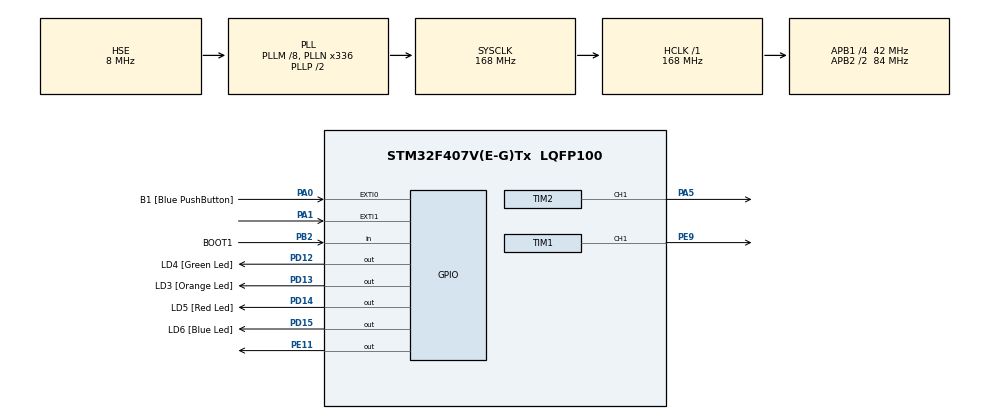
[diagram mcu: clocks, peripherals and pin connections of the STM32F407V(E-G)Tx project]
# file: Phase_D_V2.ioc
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Mcu.Family=STM32F4
Mcu.Name=STM32F407V(E-G)Tx
Mcu.Package=LQFP100
NVIC.EXTI1_IRQn=true\:0\:0\:false\:false\:true\:true\:true\:true
NVIC.PriorityGroup=NVIC_PRIORITYGROUP_0
NVIC.TIM1_CC_IRQn=true\:0\:0\:false\:false\:true\:true\:true\:true
PA0-WKUP.GPIO_Label=B1 [Blue PushButton]
PA0-WKUP.GPIO_ModeDefaultEXTI=GPIO_MODE_EVT_RISING
PA0-WKUP.GPIO_PuPd=GPIO_NOPULL
PA0-WKUP.Signal=GPXTI0
PA1.GPIO_ModeDefaultEXTI=GPIO_MODE_IT_RISING
PA1.Signal=GPXTI1
PA5.Signal=S_TIM2_CH1_ETR
PB2.GPIO_Label=BOOT1
PB2.GPIO_Mode=GPIO_MODE_INPUT
PB2.GPIO_PuPd=GPIO_NOPULL
PB2.Signal=GPIO_Input
PC14-OSC32_IN.GPIO_Label=PC14-OSC32_IN
PC14-OSC32_IN.Mode=LSE-External-Oscillator
PC14-OSC32_IN.Signal=RCC_OSC32_IN
PC15-OSC32_OUT.GPIO_Label=PC15-OSC32_OUT
PC15-OSC32_OUT.Mode=LSE-External-Oscillator
PC15-OSC32_OUT.Signal=RCC_OSC32_OUT
PD12.GPIO_Label=LD4 [Green Led]
PD12.GPIO_PuPd=GPIO_NOPULL
PD12.GPIO_Speed=GPIO_SPEED_FREQ_LOW
PD12.Signal=GPIO_Output
PD13.GPIO_Label=LD3 [Orange Led]
PD13.GPIO_PuPd=GPIO_NOPULL
PD13.GPIO_Speed=GPIO_SPEED_FREQ_LOW
PD13.Signal=GPIO_Output
PD14.GPIO_Label=LD5 [Red Led]
PD14.GPIO_PuPd=GPIO_NOPULL
PD14.GPIO_Speed=GPIO_SPEED_FREQ_LOW
PD14.Signal=GPIO_Output
PD15.GPIO_Label=LD6 [Blue Led]
PD15.GPIO_PuPd=GPIO_NOPULL
PD15.GPIO_Speed=GPIO_SPEED_FREQ_LOW
PD15.Signal=GPIO_Output
PE11.Signal=GPIO_Output
PE9.Signal=S_TIM1_CH1
PH0-OSC_IN.GPIO_Label=PH0-OSC_IN
PH0-OSC_IN.Mode=HSE-External-Oscillator
PH0-OSC_IN.Signal=RCC_OSC_IN
PH1-OSC_OUT.GPIO_Label=PH1-OSC_OUT
PH1-OSC_OUT.Mode=HSE-External-Oscillator
PH1-OSC_OUT.Signal=RCC_OSC_OUT
ProjectManager.HeapSize=0x200
ProjectManager.StackSize=0x400
ProjectManager.TargetToolchain=STM32CubeIDE
RCC.48MHZClocksFreq_Value=48000000
RCC.AHBFreq_Value=168000000
RCC.APB1CLKDivider=RCC_HCLK_DIV4
RCC.APB1Freq_Value=42000000
RCC.APB1TimFreq_Value=84000000
RCC.APB2CLKDivider=RCC_HCLK_DIV2
RCC.APB2Freq_Value=84000000
RCC.APB2TimFreq_Value=168000000
RCC.CortexFreq_Value=168000000
RCC.HCLKFreq_Value=168000000
RCC.HSE_VALUE=8000000
RCC.HSI_VALUE=16000000
RCC.PLLM=8
RCC.PLLN=336
RCC.PLLQ=7
RCC.PLLSourceVirtual=RCC_PLLSOURCE_HSE
RCC.SYSCLKFreq_VALUE=168000000
RCC.SYSCLKSource=RCC_SYSCLKSOURCE_PLLCLK
RCC.VCOOutputFreq_Value=336000000
SH.S_TIM1_CH1.0=TIM1_CH1,PWM Generation1 CH1
SH.S_TIM2_CH1_ETR.0=TIM2_CH1,PWM Generation1 CH1
TIM1.Channel-PWM\ Generation1\ CH1=TIM_CHANNEL_1
TIM1.Period=3300-1
TIM1.Prescaler=168-1
TIM1.Pulse-PWM\ Generation1\ CH1=1650
TIM2.Channel-PWM\ Generation1\ CH1=TIM_CHANNEL_1
TIM2.Period=400-1
TIM2.Prescaler=4200-1
VP_TIM1_VS_ClockSourceINT.Mode=Internal
VP_TIM2_VS_ClockSourceINT.Mode=Internal
board=STM32F407G-DISC1

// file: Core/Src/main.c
/* USER CODE BEGIN Header */
/**
  ******************************************************************************
  * @file           : main.c
  * @brief          : Main program body
  ******************************************************************************
  * @attention
  *
  * Copyright (c) 2023 STMicroelectronics.
  * All rights reserved.
  *
  * This software is licensed under terms that can be found in the LICENSE file
  * in the root directory of this software component.
  * If no LICENSE file comes with this software, it is provided AS-IS.
  *
  ******************************************************************************
  */
/* USER CODE END Header */
#include "main.h"

/* USER CODE BEGIN Includes */
#include "stm32f4xx_hal_tim.h"

/* USER CODE END Includes */

/* USER CODE BEGIN PM */
#define gPIR_PIN_PORT GPIOA
#define gPIR_PIN	GPIO_PIN_1  // Motion sensor pin
#define gLED_PIN_PORT GPIOE
#define gLED_PIN GPIO_PIN_11  // LED pin
#define gBUZZER_PIN_PORT GPIOE
#define gBUZZER_PIN GPIO_PIN_9 // Buzzer Pin
#define gBUZZER_TIM_CHANNEL TIM_CHANNEL_1
/* USER CODE END PM */

TIM_HandleTypeDef htim1;
TIM_HandleTypeDef htim2;

void SystemClock_Config(void);
static void MX_GPIO_Init(void);
static void MX_TIM1_Init(void);
static void MX_TIM2_Init(void);

/* USER CODE BEGIN 0 */
volatile char gISR_Flag_PIR = 0;
/* USER CODE END 0 */

int main(void)
{

  /* MCU Configuration--------------------------------------------------------*/

  /* Reset of all peripherals, Initializes the Flash interface and the Systick. */
  HAL_Init();

  /* Configure the system clock */
  SystemClock_Config();

  /* Initialize all configured peripherals */
  MX_GPIO_Init();
  MX_TIM1_Init();
  MX_TIM2_Init();
  MX_BUZZER_Init();

  /* Infinite loop */
  /* USER CODE BEGIN WHILE */
  while (1)
  {

	  if(gISR_Flag_PIR){
		  HAL_GPIO_WritePin(gLED_PIN_PORT, gLED_PIN, SET); // Turn on LED
		 // HAL_GPIO_WritePin(BUZZER_PIN_PORT, BUZZER_PIN, SET); // Turn on buzzer
		  HAL_TIM_PWM_Start(&htim1, gBUZZER_TIM_CHANNEL);
		  HAL_Delay(1000); // Delay for 1 second
		  //HAL_GPIO_WritePin(BUZZER_PIN_PORT, BUZZER_PIN, RESET); // Turn off buzzer
		  HAL_TIM_PWM_Stop(&htim1, gBUZZER_TIM_CHANNEL);
		  HAL_GPIO_WritePin(gLED_PIN_PORT, gLED_PIN, RESET); // Turn off LED
		  gISR_Flag_PIR = 0; // Reset the motion detection flag
	  }

    /* USER CODE END WHILE */

  }
}

void SystemClock_Config(void)
{
  RCC_OscInitTypeDef RCC_OscInitStruct = {0};
  RCC_ClkInitTypeDef RCC_ClkInitStruct = {0};

  /** Configure the main internal regulator output voltage
  */
  __HAL_RCC_PWR_CLK_ENABLE();
  __HAL_PWR_VOLTAGESCALING_CONFIG(PWR_REGULATOR_VOLTAGE_SCALE1);

  /** Initializes the RCC Oscillators according to the specified parameters
  * in the RCC_OscInitTypeDef structure.
  */
  RCC_OscInitStruct.OscillatorType = RCC_OSCILLATORTYPE_HSE;
  RCC_OscInitStruct.HSEState = RCC_HSE_ON;
  RCC_OscInitStruct.PLL.PLLState = RCC_PLL_ON;
  RCC_OscInitStruct.PLL.PLLSource = RCC_PLLSOURCE_HSE;
  RCC_OscInitStruct.PLL.PLLM = 8;
  RCC_OscInitStruct.PLL.PLLN = 336;
  RCC_OscInitStruct.PLL.PLLP = RCC_PLLP_DIV2;
  RCC_OscInitStruct.PLL.PLLQ = 7;
  if (HAL_RCC_OscConfig(&RCC_OscInitStruct) != HAL_OK)
  {
    Error_Handler();
  }

  /** Initializes the CPU, AHB and APB buses clocks
  */
  RCC_ClkInitStruct.ClockType = RCC_CLOCKTYPE_HCLK|RCC_CLOCKTYPE_SYSCLK
                              |RCC_CLOCKTYPE_PCLK1|RCC_CLOCKTYPE_PCLK2;
  RCC_ClkInitStruct.SYSCLKSource = RCC_SYSCLKSOURCE_PLLCLK;
  RCC_ClkInitStruct.AHBCLKDivider = RCC_SYSCLK_DIV1;
  RCC_ClkInitStruct.APB1CLKDivider = RCC_HCLK_DIV4;
  RCC_ClkInitStruct.APB2CLKDivider = RCC_HCLK_DIV2;

  if (HAL_RCC_ClockConfig(&RCC_ClkInitStruct, FLASH_LATENCY_5) != HAL_OK)
  {
    Error_Handler();
  }
}

static void MX_TIM1_Init(void)
{

  TIM_ClockConfigTypeDef sClockSourceConfig = {0};
  TIM_MasterConfigTypeDef sMasterConfig = {0};
  TIM_OC_InitTypeDef sConfigOC = {0};
  TIM_BreakDeadTimeConfigTypeDef sBreakDeadTimeConfig = {0};

  htim1.Instance = TIM1;
  htim1.Init.Prescaler = 168-1;
  htim1.Init.CounterMode = TIM_COUNTERMODE_UP;
  htim1.Init.Period = 3300-1;
  htim1.Init.ClockDivision = TIM_CLOCKDIVISION_DIV1;
  htim1.Init.RepetitionCounter = 0;
  htim1.Init.AutoReloadPreload = TIM_AUTORELOAD_PRELOAD_DISABLE;
  if (HAL_TIM_Base_Init(&htim1) != HAL_OK)
  {
    Error_Handler();
  }
  sClockSourceConfig.ClockSource = TIM_CLOCKSOURCE_INTERNAL;
  if (HAL_TIM_ConfigClockSource(&htim1, &sClockSourceConfig) != HAL_OK)
  {
    Error_Handler();
  }
  if (HAL_TIM_PWM_Init(&htim1) != HAL_OK)
  {
    Error_Handler();
  }
  sMasterConfig.MasterOutputTrigger = TIM_TRGO_RESET;
  sMasterConfig.MasterSlaveMode = TIM_MASTERSLAVEMODE_DISABLE;
  if (HAL_TIMEx_MasterConfigSynchronization(&htim1, &sMasterConfig) != HAL_OK)
  {
    Error_Handler();
  }
  sConfigOC.OCMode = TIM_OCMODE_PWM1;
  sConfigOC.Pulse = 1650;
  sConfigOC.OCPolarity = TIM_OCPOLARITY_HIGH;
  sConfigOC.OCNPolarity = TIM_OCNPOLARITY_HIGH;
  sConfigOC.OCFastMode = TIM_OCFAST_DISABLE;
  sConfigOC.OCIdleState = TIM_OCIDLESTATE_RESET;
  sConfigOC.OCNIdleState = TIM_OCNIDLESTATE_RESET;
  if (HAL_TIM_PWM_ConfigChannel(&htim1, &sConfigOC, TIM_CHANNEL_1) != HAL_OK)
  {
    Error_Handler();
  }
  sBreakDeadTimeConfig.OffStateRunMode = TIM_OSSR_DISABLE;
  sBreakDeadTimeConfig.OffStateIDLEMode = TIM_OSSI_DISABLE;
  sBreakDeadTimeConfig.LockLevel = TIM_LOCKLEVEL_OFF;
  sBreakDeadTimeConfig.DeadTime = 0;
  sBreakDeadTimeConfig.BreakState = TIM_BREAK_DISABLE;
  sBreakDeadTimeConfig.BreakPolarity = TIM_BREAKPOLARITY_HIGH;
  sBreakDeadTimeConfig.AutomaticOutput = TIM_AUTOMATICOUTPUT_DISABLE;
  if (HAL_TIMEx_ConfigBreakDeadTime(&htim1, &sBreakDeadTimeConfig) != HAL_OK)
  {
    Error_Handler();
  }
  HAL_TIM_MspPostInit(&htim1);

}

static void MX_TIM2_Init(void)
{

  TIM_ClockConfigTypeDef sClockSourceConfig = {0};
  TIM_MasterConfigTypeDef sMasterConfig = {0};
  TIM_OC_InitTypeDef sConfigOC = {0};

  htim2.Instance = TIM2;
  htim2.Init.Prescaler = 4200-1;
  htim2.Init.CounterMode = TIM_COUNTERMODE_UP;
  htim2.Init.Period = 400-1;
  htim2.Init.ClockDivision = TIM_CLOCKDIVISION_DIV1;
  htim2.Init.AutoReloadPreload = TIM_AUTORELOAD_PRELOAD_DISABLE;
  if (HAL_TIM_Base_Init(&htim2) != HAL_OK)
  {
    Error_Handler();
  }
  sClockSourceConfig.ClockSource = TIM_CLOCKSOURCE_INTERNAL;
  if (HAL_TIM_ConfigClockSource(&htim2, &sClockSourceConfig) != HAL_OK)
  {
    Error_Handler();
  }
  if (HAL_TIM_PWM_Init(&htim2) != HAL_OK)
  {
    Error_Handler();
  }
  sMasterConfig.MasterOutputTrigger = TIM_TRGO_RESET;
  sMasterConfig.MasterSlaveMode = TIM_MASTERSLAVEMODE_DISABLE;
  if (HAL_TIMEx_MasterConfigSynchronization(&htim2, &sMasterConfig) != HAL_OK)
  {
    Error_Handler();
  }
  sConfigOC.OCMode = TIM_OCMODE_PWM1;
  sConfigOC.Pulse = 0;
  sConfigOC.OCPolarity = TIM_OCPOLARITY_HIGH;
  sConfigOC.OCFastMode = TIM_OCFAST_DISABLE;
  if (HAL_TIM_PWM_ConfigChannel(&htim2, &sConfigOC, TIM_CHANNEL_1) != HAL_OK)
  {
    Error_Handler();
  }
  HAL_TIM_MspPostInit(&htim2);

}

static void MX_GPIO_Init(void)
{
  GPIO_InitTypeDef GPIO_InitStruct = {0};

  /* GPIO Ports Clock Enable */
  __HAL_RCC_GPIOC_CLK_ENABLE();
  __HAL_RCC_GPIOH_CLK_ENABLE();
  __HAL_RCC_GPIOA_CLK_ENABLE();
  __HAL_RCC_GPIOB_CLK_ENABLE();
  __HAL_RCC_GPIOE_CLK_ENABLE();
  __HAL_RCC_GPIOD_CLK_ENABLE();

  /*Configure GPIO pin Output */
  HAL_GPIO_WritePin(GPIOA, GPIO_PIN_1, GPIO_PIN_RESET);

  /*Configure GPIO pin Output Level */
  HAL_GPIO_WritePin(GPIOE, GPIO_PIN_11, GPIO_PIN_RESET);

  /*Configure GPIO pin Output Level */
  HAL_GPIO_WritePin(GPIOD, LD4_Pin|LD3_Pin|LD5_Pin|LD6_Pin, GPIO_PIN_RESET);

  /*Configure GPIO pin : B1_Pin */
  GPIO_InitStruct.Pin = B1_Pin;
  GPIO_InitStruct.Mode = GPIO_MODE_EVT_RISING;
  GPIO_InitStruct.Pull = GPIO_NOPULL;
  HAL_GPIO_Init(B1_GPIO_Port, &GPIO_InitStruct);

  /*Configure GPIO pin : PA1 */
  GPIO_InitStruct.Pin = GPIO_PIN_1;
  GPIO_InitStruct.Mode = GPIO_MODE_IT_RISING;
  GPIO_InitStruct.Pull = GPIO_NOPULL;
  HAL_GPIO_Init(GPIOA, &GPIO_InitStruct);

  /*Configure GPIO pin : BOOT1_Pin */
  GPIO_InitStruct.Pin = BOOT1_Pin;
  GPIO_InitStruct.Mode = GPIO_MODE_INPUT;
  GPIO_InitStruct.Pull = GPIO_NOPULL;
  HAL_GPIO_Init(BOOT1_GPIO_Port, &GPIO_InitStruct);

  /*Configure GPIO pin : PE11 */
  GPIO_InitStruct.Pin = GPIO_PIN_11;
  GPIO_InitStruct.Mode = GPIO_MODE_OUTPUT_PP;
  GPIO_InitStruct.Pull = GPIO_NOPULL;
  GPIO_InitStruct.Speed = GPIO_SPEED_FREQ_LOW;
  HAL_GPIO_Init(GPIOE, &GPIO_InitStruct);

  /*Configure GPIO pins : LD4_Pin LD3_Pin LD5_Pin LD6_Pin */
  GPIO_InitStruct.Pin = LD4_Pin|LD3_Pin|LD5_Pin|LD6_Pin;
  GPIO_InitStruct.Mode = GPIO_MODE_OUTPUT_PP;
  GPIO_InitStruct.Pull = GPIO_NOPULL;
  GPIO_InitStruct.Speed = GPIO_SPEED_FREQ_LOW;
  HAL_GPIO_Init(GPIOD, &GPIO_InitStruct);

  /* EXTI interrupt init*/
  HAL_NVIC_SetPriority(EXTI1_IRQn, 0, 0);
  HAL_NVIC_EnableIRQ(EXTI1_IRQn);

}

void MX_BUZZER_Init(void)
{
  GPIO_InitTypeDef GPIO_InitStruct = {0};

  /* Enable the GPIO clock */
  __HAL_RCC_GPIOA_CLK_ENABLE();

  /* Configure the GPIO pin */
  GPIO_InitStruct.Pin = gBUZZER_PIN;
  GPIO_InitStruct.Mode = GPIO_MODE_AF_PP;
  GPIO_InitStruct.Pull = GPIO_NOPULL;
  GPIO_InitStruct.Speed = GPIO_SPEED_FREQ_HIGH;
  GPIO_InitStruct.Alternate = GPIO_AF1_TIM2;
  HAL_GPIO_Init(gBUZZER_PIN_PORT, &GPIO_InitStruct);

  /* Enable the TIM2 clock */
  __HAL_RCC_TIM2_CLK_ENABLE();

  /* Configure the TIM2 PWM output */
  htim2.Instance = TIM2;
  htim2.Init.Prescaler = 4200-1;
  htim2.Init.CounterMode = TIM_COUNTERMODE_UP;
  htim2.Init.Period = 400-1;
  htim2.Init.ClockDivision = TIM_CLOCKDIVISION_DIV1;
  HAL_TIM_PWM_Init(&htim2);

  TIM_OC_InitTypeDef sConfigOC = {0};
  sConfigOC.OCMode = TIM_OCMODE_PWM1;
  sConfigOC.Pulse = 1650;
  sConfigOC.OCPolarity = TIM_OCPOLARITY_HIGH;
  sConfigOC.OCNPolarity = TIM_OCNPOLARITY_HIGH;
  sConfigOC.OCFastMode = TIM_OCFAST_DISABLE;
  sConfigOC.OCIdleState = TIM_OCIDLESTATE_RESET;
  sConfigOC.OCNIdleState = TIM_OCNIDLESTATE_RESET;
  HAL_TIM_PWM_ConfigChannel(&htim2, &sConfigOC, gBUZZER_TIM_CHANNEL);

  /* Start the TIM2 PWM output */
  HAL_TIM_PWM_Start(&htim2, gBUZZER_TIM_CHANNEL);
}

/* USER CODE BEGIN 4 */
void HAL_GPIO_EXTI_Callback(uint16_t GPIO_Pin)
{
	if(GPIO_Pin == gPIR_PIN)
	{
		// On
		gISR_Flag_PIR = 1;

	}
}
/* USER CODE END 4 */

void Error_Handler(void)
{
  __disable_irq();
  while (1)
  {
  }
}
